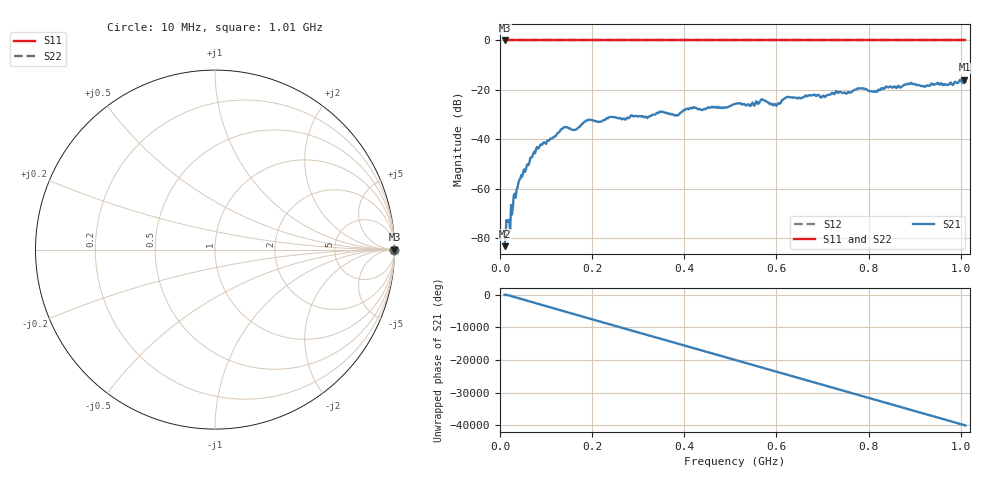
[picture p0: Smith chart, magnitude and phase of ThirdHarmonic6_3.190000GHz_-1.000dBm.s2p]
! 8/17/2025 9:39:32 AM
! C:\ANRITSUVNA\TEMP\TEMP.S2P
! CHANNEL.1
! TR.MEASUREMENT
! RAW.DATA
! RF.CORRECTION.OFF
! AVERAGING.OFF
! IF.BANDWIDTH: 5KHZ
! SWEEPTYPE:  FREQ.SWEEP(Linear)
! Reference Plane Port Info
! PORT:  PORT1  PORT2
! DISTANCE:  0  m  0  m
! TIME:  0  s  0  s
! PHASE.OFFSET:  0  deg.  0  deg.
! LOSS:  0  dB  0  dB
! REF.LOSS:  0  dB  0  dB
! REF.FREQ:  0  Hz  0  Hz
! Power Info
! POWER:  -20  dBm  -20  dBm
! EFF.POWER:  -20  dBm  -20  dBm
! SOURCE.ATTEN:  0  dB  0  dB
! TEST.ATTEN:  0  dB  0  dB
# GHZ S RI R 50.0
! FREQ.GHZ  S11RE  S11IM  S21RE  S21IM  S12RE  S12IM  S22RE  S22IM
!; PortSelection: Port_12
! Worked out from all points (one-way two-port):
!   501 points, 10 MHz to 1.01 GHz, reference 50 ohm
!   highest |S21| = -15.93 dB at 1.008 GHz (marker M1); lowest = -83.3 dB at 10 MHz (marker M2)
!   lowest |S11| = 0.0 dB at 10 MHz (marker M3)
!   |S11| at or under -10 dB: nowhere
!   |S22| runs from 0.0 to 0.0 dB; largest |S21 - S12| = 1.1
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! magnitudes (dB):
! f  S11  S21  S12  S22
! 10 MHz  0.0  -83.3  0.0  0.0
! 24 MHz  0.0  -66.6  0.0  0.0
! 28 MHz  0.0  -67.3  0.0  0.0
! 42 MHz  0.0  -56.4  0.0  0.0
! 76 MHz  0.0  -45.7  0.0  0.0
! 136 MHz  0.0  -35.6  0.0  0.0
! 162 MHz  0.0  -36.3  0.0  0.0
! 178 MHz  0.0  -33.9  0.0  0.0
! 344 MHz  0.0  -29.4  0.0  0.0
! 382 MHz  0.0  -30.2  0.0  0.0
! 416 MHz  0.0  -27.5  0.0  0.0
! 510 MHz  0.0  -25.7  0.0  0.0
! 540 MHz  0.0  -25.9  0.0  0.0
! 570 MHz  0.0  -23.9  0.0  0.0
! 596 MHz  0.0  -25.7  0.0  0.0
! 624 MHz  0.0  -22.9  0.0  0.0
! 678 MHz  0.0  -22.1  0.0  0.0
! 780 MHz  0.0  -19.4  0.0  0.0
! 814 MHz  0.0  -20.5  0.0  0.0
! 844 MHz  0.0  -18.9  0.0  0.0
! 1.008 GHz  0.0  -15.9  0.0  0.0
! 1.01 GHz  0.0  -16.7  0.0  0.0
